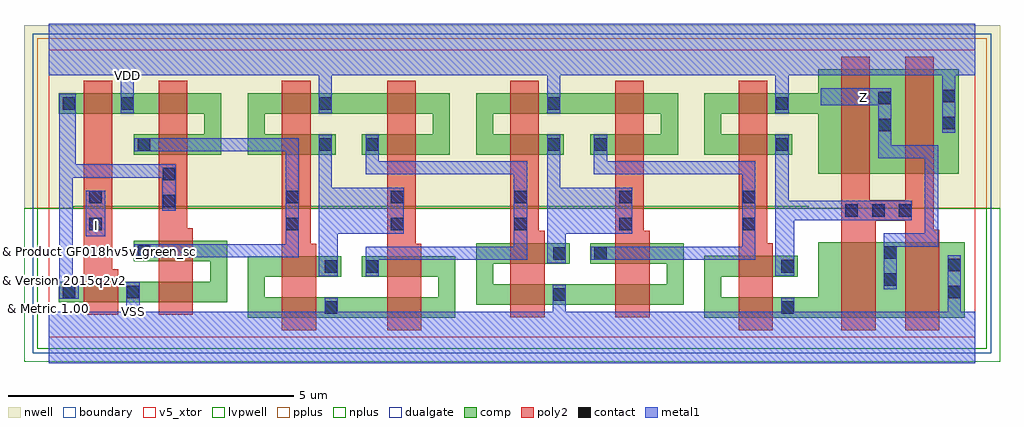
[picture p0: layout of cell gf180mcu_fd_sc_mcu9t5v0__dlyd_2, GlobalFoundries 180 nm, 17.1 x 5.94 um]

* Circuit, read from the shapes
.subckt gf180mcu_fd_sc_mcu9t5v0__dlyd_2 I VDD VSS Z
XM1 VSS I n1 VSUBS nfet_05v0 w=0.36u l=0.6u
XM2 n2 n1 VSS VSUBS nfet_05v0 w=0.36u l=0.6u
XM3 n2 n1 n3 VSUBS nfet_05v0 w=0.36u l=0.6u
XM4 VSS n3 n4 VSUBS nfet_05v0 w=0.36u l=0.6u
XM5 n5 n3 n4 VSUBS nfet_05v0 w=0.36u l=0.6u
XM6 n6 n5 VSS VSUBS nfet_05v0 w=0.36u l=0.6u
XM7 n6 n5 n7 VSUBS nfet_05v0 w=0.36u l=0.6u
XM8 VSS n7 n8 VSUBS nfet_05v0 w=0.36u l=0.6u
XM9 n9 n7 n8 VSUBS nfet_05v0 w=0.36u l=0.6u
XM10 n10 n9 VSS VSUBS nfet_05v0 w=0.36u l=0.6u
XM11 n10 n9 n11 VSUBS nfet_05v0 w=0.36u l=0.6u
XM12 VSS n11 n12 VSUBS nfet_05v0 w=0.36u l=0.6u
XM13 n13 n11 n12 VSUBS nfet_05v0 w=0.36u l=0.6u
XM14 Z n13 VSS VSUBS nfet_05v0 w=1.32u l=0.6u m=2
XM15 VDD I n1 n14 pfet_05v0 w=0.36u l=0.5u
XM16 n15 n1 n3 n14 pfet_05v0 w=0.36u l=0.5u
XM17 n15 n1 VDD n14 pfet_05v0 w=0.36u l=0.5u
XM18 n5 n3 n16 n14 pfet_05v0 w=0.36u l=0.5u
XM19 VDD n3 n16 n14 pfet_05v0 w=0.36u l=0.5u
XM20 n17 n5 n7 n14 pfet_05v0 w=0.36u l=0.5u
XM21 n17 n5 VDD n14 pfet_05v0 w=0.36u l=0.5u
XM22 n9 n7 n18 n14 pfet_05v0 w=0.36u l=0.5u
XM23 VDD n7 n18 n14 pfet_05v0 w=0.36u l=0.5u
XM24 n19 n9 n11 n14 pfet_05v0 w=0.36u l=0.5u
XM25 n19 n9 VDD n14 pfet_05v0 w=0.36u l=0.5u
XM26 n13 n11 n20 n14 pfet_05v0 w=0.36u l=0.5u
XM27 VDD n11 n20 n14 pfet_05v0 w=0.36u l=0.5u
XM28 Z n13 VDD n14 pfet_05v0 w=1.83u l=0.5u m=2
.ends

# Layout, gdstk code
import gdstk
lib = gdstk.Library(unit=1e-6, precision=1e-09)
def R(c, l, rs):  # rectangles x0, y0, x1, y1
    for r in rs: c.add(gdstk.rectangle(r[:2], r[2:], *l))
def A(c, l, x, y, w, h, nx, ny, dx, dy):  # array of equal rectangles
    R(c, l, [(x+i*dx, y+j*dy, x+i*dx+w, y+j*dy+h) for i in range(nx) for j in range(ny)])
def P(c, l, *ps):  # polygons
    for p in ps: c.add(gdstk.Polygon(p, *l))
boundary = (0, 0)
nwell = (21, 0)
comp = (22, 0)
poly2 = (30, 0)
pplus = (31, 0)
nplus = (32, 0)
contact = (33, 0)
metal1 = (34, 0)
dualgate = (55, 0)
v5_xtor = (112, 1)
lvpwell = (204, 0)

gf180mcu_fd_sc_mcu9t5v0_ = lib.new_cell('gf180mcu_fd_sc_mcu9t5v0__dlyd_2')
R(gf180mcu_fd_sc_mcu9t5v0_, boundary, [(0,0,16.24,5.04)])
P(gf180mcu_fd_sc_mcu9t5v0_, nwell, [(-0.43,2.265),(-0.43,5.47),(16.67,5.47),(16.67,2.265),(13.315,2.265),(13.315,2.295),(0.43,2.295),(0.43,2.265)])
P(gf180mcu_fd_sc_mcu9t5v0_, comp, [(1.49,3.195),(1.49,3.555),(2.73,3.555),(2.73,3.915),(0.18,3.915),(0.18,4.275),(3.03,4.275),(3.03,3.195)],
  [(0.18,0.615),(0.18,0.975),(2.83,0.975),(2.83,1.335),(1.49,1.335),(1.49,1.695),(3.13,1.695),(3.13,0.615)],
  [(3.49,3.195),(3.49,4.275),(7.03,4.275),(7.03,3.195),(5.49,3.195),(5.49,3.555),(6.73,3.555),(6.73,3.915),(3.79,3.915),(3.79,3.555),(5.03,3.555),(5.03,3.195)],
  [(3.49,0.34),(3.49,1.42),(5.13,1.42),(5.13,1.06),(3.79,1.06),(3.79,0.7),(6.83,0.7),(6.83,1.06),(5.49,1.06),(5.49,1.42),(7.13,1.42),(7.13,0.34)],
  [(7.49,3.195),(7.49,4.275),(11.03,4.275),(11.03,3.195),(9.49,3.195),(9.49,3.555),(10.73,3.555),(10.73,3.915),(7.79,3.915),(7.79,3.555),(9.03,3.555),(9.03,3.195)],
  [(7.49,0.57),(7.49,1.65),(9.13,1.65),(9.13,1.29),(7.79,1.29),(7.79,0.93),(10.83,0.93),(10.83,1.29),(9.49,1.29),(9.49,1.65),(11.13,1.65),(11.13,0.57)],
  [(13.49,2.87),(13.49,3.915),(11.79,3.915),(11.79,3.555),(13.03,3.555),(13.03,3.195),(11.49,3.195),(11.49,4.275),(13.49,4.275),(13.49,4.7),(15.95,4.7),(15.95,2.87)],
  [(11.49,0.345),(11.49,1.425),(13.13,1.425),(13.13,1.065),(11.79,1.065),(11.79,0.705),(13.49,0.705),(13.49,1.665),(16.05,1.665),(16.05,0.345)])
P(gf180mcu_fd_sc_mcu9t5v0_, poly2, [(0.62,0.395),(0.62,4.495),(1.12,4.495),(1.12,1.195),(1.22,1.195),(1.22,0.395)],
  [(1.93,0.395),(1.93,4.495),(2.43,4.495),(2.43,1.915),(2.53,1.915),(2.53,0.395)],
  [(4.09,0.12),(4.09,4.495),(4.59,4.495),(4.59,1.64),(4.69,1.64),(4.69,0.12)],
  [(5.93,0.12),(5.93,4.495),(6.43,4.495),(6.43,1.64),(6.53,1.64),(6.53,0.12)],
  [(8.09,0.35),(8.09,4.495),(8.59,4.495),(8.59,1.87),(8.69,1.87),(8.69,0.35)],
  [(9.93,0.35),(9.93,4.495),(10.43,4.495),(10.43,1.87),(10.53,1.87),(10.53,0.35)],
  [(12.09,0.125),(12.09,4.495),(12.59,4.495),(12.59,1.645),(12.69,1.645),(12.69,0.125)],
  [(13.89,0.125),(13.89,4.92),(14.39,4.92),(14.39,2.4),(15.01,2.4),(15.01,4.92),(15.51,4.92),(15.51,1.885),(15.61,1.885),(15.61,0.125),(15.01,0.125),(15.01,2.04),(14.49,2.04),(14.49,0.125)])
R(gf180mcu_fd_sc_mcu9t5v0_, pplus, [(-0.2,2.265,16.44,5.24)])
R(gf180mcu_fd_sc_mcu9t5v0_, nplus, [(-0.2,-0.2,16.44,2.265)])
A(gf180mcu_fd_sc_mcu9t5v0_, contact, 13.96, 2.11, 0.22, 0.22, 3, 1, 0.47, 0)
A(gf180mcu_fd_sc_mcu9t5v0_, contact, 4.74, 3.985, 0.22, 0.22, 3, 1, 4, 0)
R(gf180mcu_fd_sc_mcu9t5v0_, contact, [(4.84,0.41,5.06,0.63), (12.84,0.415,13.06,0.635), (8.84,0.64,9.06,0.86), (0.25,0.685,0.47,0.905), (1.37,0.685,1.59,0.905), (15.76,0.685,15.98,0.905), (14.64,0.905,14.86,1.125), (4.84,1.13,5.06,1.35), (5.56,1.13,5.78,1.35), (12.84,1.135,13.06,1.355), (15.76,1.155,15.98,1.375), (8.84,1.36,9.06,1.58), (9.56,1.36,9.78,1.58), (14.64,1.375,14.86,1.595), (1.56,1.405,1.78,1.625), (0.71,1.875,0.93,2.095), (4.16,1.875,4.38,2.095), (6,1.875,6.22,2.095), (8.16,1.875,8.38,2.095), (10,1.875,10.22,2.095), (12.16,1.875,12.38,2.095), (2,2.28,2.22,2.5), (0.71,2.345,0.93,2.565), (4.16,2.345,4.38,2.565), (6,2.345,6.22,2.565), (8.16,2.345,8.38,2.565), (10,2.345,10.22,2.565), (12.16,2.345,12.38,2.565), (2,2.75,2.22,2.97), (1.56,3.265,1.78,3.485), (4.74,3.265,4.96,3.485), (5.56,3.265,5.78,3.485), (8.74,3.265,8.96,3.485), (9.56,3.265,9.78,3.485), (12.74,3.265,12.96,3.485), (14.54,3.61,14.76,3.83), (15.66,3.645,15.88,3.865), (0.25,3.985,0.47,4.205), (1.27,3.985,1.49,4.205), (14.54,4.08,14.76,4.3), (15.66,4.115,15.88,4.335)])
R(gf180mcu_fd_sc_mcu9t5v0_, metal1, [(0.65,1.77,0.99,2.57)])
P(gf180mcu_fd_sc_mcu9t5v0_, metal1, [(0.19,0.68),(0.19,4.265),(0.475,4.265),(0.475,3.03),(2.225,3.03),(2.225,2.22),(1.995,2.22),(1.995,2.8),(0.42,2.8),(0.42,0.91),(0.53,0.91),(0.53,0.68)],
  [(1.5,1.4),(1.5,1.63),(4.155,1.63),(4.155,3.26),(1.5,3.26),(1.5,3.49),(4.385,3.49),(4.385,1.4)],
  [(4.735,1.07),(4.735,3.545),(4.965,3.545),(4.965,2.625),(6.225,2.625),(6.225,1.815),(5.065,1.815),(5.065,1.07)],
  [(5.555,1.07),(5.555,1.585),(8.155,1.585),(8.155,2.855),(5.555,2.855),(5.555,3.545),(5.785,3.545),(5.785,3.085),(8.385,3.085),(8.385,1.355),(5.785,1.355),(5.785,1.07)],
  [(8.735,1.3),(8.735,3.545),(8.965,3.545),(8.965,2.625),(10.225,2.625),(10.225,1.815),(9.065,1.815),(9.065,1.3)],
  [(9.5,1.355),(9.5,1.585),(12.155,1.585),(12.155,2.855),(9.555,2.855),(9.555,3.545),(9.785,3.545),(9.785,3.085),(12.385,3.085),(12.385,1.355)],
  [(12.735,1.075),(12.735,3.545),(12.965,3.545),(12.965,2.39),(15.125,2.39),(15.125,2.05),(13.065,2.05),(13.065,1.075)],
  [(14.635,0.845),(14.635,1.82),(15.355,1.82),(15.355,3.135),(14.535,3.135),(14.535,4.07),(13.53,4.07),(13.53,4.36),(14.765,4.36),(14.765,3.365),(15.585,3.365),(15.585,1.59),(14.865,1.59),(14.865,0.845)],
  [(0,-0.45),(0,0.45),(1.365,0.45),(1.365,0.965),(1.595,0.965),(1.595,0.45),(4.835,0.45),(4.835,0.69),(5.065,0.69),(5.065,0.45),(8.835,0.45),(8.835,0.92),(9.065,0.92),(9.065,0.45),(12.835,0.45),(12.835,0.695),(13.065,0.695),(13.065,0.45),(15.755,0.45),(15.755,1.435),(15.985,1.435),(15.985,0.45),(16.24,0.45),(16.24,-0.45)],
  [(15.655,3.585),(15.655,4.59),(12.965,4.59),(12.965,3.925),(12.735,3.925),(12.735,4.59),(8.965,4.59),(8.965,3.925),(8.735,3.925),(8.735,4.59),(4.965,4.59),(4.965,3.925),(4.735,3.925),(4.735,4.59),(1.495,4.59),(1.495,3.925),(1.265,3.925),(1.265,4.59),(0,4.59),(0,5.49),(16.24,5.49),(16.24,4.59),(15.885,4.59),(15.885,3.585)])
R(gf180mcu_fd_sc_mcu9t5v0_, dualgate, [(-0.28,-0.28,16.52,5.32)])
R(gf180mcu_fd_sc_mcu9t5v0_, v5_xtor, [(0,0,16.24,5.04)])
P(gf180mcu_fd_sc_mcu9t5v0_, lvpwell, [(-0.43,-0.43),(-0.43,2.265),(0.43,2.265),(0.43,2.295),(13.315,2.295),(13.315,2.265),(16.67,2.265),(16.67,-0.43)])
gf180mcu_fd_sc_mcu9t5v0_.add(gdstk.Label('I', (0.84,1.96), layer=34, texttype=10))
gf180mcu_fd_sc_mcu9t5v0_.add(gdstk.Label('VDD', (1.38,4.59), layer=34, texttype=10))
gf180mcu_fd_sc_mcu9t5v0_.add(gdstk.Label('VSS', (1.48,0.45), layer=34, texttype=10))
gf180mcu_fd_sc_mcu9t5v0_.add(gdstk.Label('Z', (14.28,4.2), layer=34, texttype=10))
gf180mcu_fd_sc_mcu9t5v0_.add(gdstk.Label('& Vendor GLOBALFOUNDRIES', (0,2), layer=63, texttype=63))
gf180mcu_fd_sc_mcu9t5v0_.add(gdstk.Label('& Product GF018hv5v_green_sc9', (0,1.5), layer=63, texttype=63))
gf180mcu_fd_sc_mcu9t5v0_.add(gdstk.Label('& Version 2015q2v2', (0,1), layer=63, texttype=63))
gf180mcu_fd_sc_mcu9t5v0_.add(gdstk.Label('& Metric 1.00', (0,0.5), layer=63, texttype=63))

lib.write_gds('gf180mcu_fd_sc_mcu9t5v0__dlyd_2.gds')
